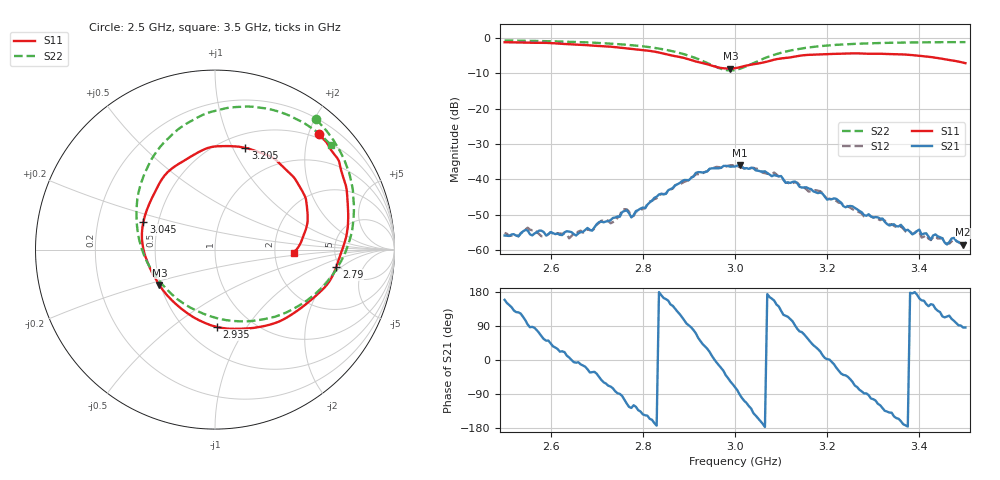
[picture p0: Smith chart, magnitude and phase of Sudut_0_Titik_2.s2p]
# Hz S RI R 50
! CMT, C1220, 16058040, 17.2.0/1
! Date: 15/08/2018 10:47:26
! Data: Format (Calibration Info)
! Freq  S11: Re/Im (F2)  S21: Re/Im (F2)  S12: Re/Im (F2)  S22: Re/Im (F2)
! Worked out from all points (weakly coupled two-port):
!   201 points, 2.5 GHz to 3.5 GHz, reference 50 ohm
!   highest |S21| = -36.10 dB at 3.01 GHz (marker M1); lowest = -58.6 dB at 3.495 GHz (marker M2)
!   lowest |S11| = -8.7 dB at 2.99 GHz (marker M3), VSWR 2.16, Z = 24.6 - j11.2 ohm
!   |S11| at or under -10 dB: nowhere
!   |S22| runs from -9.2 to -0.7 dB; largest |S21 - S12| = 0.0011
!   S11 on the Smith chart (normalised r, x): 2.5 GHz: 0.42, +2.19; 2.79 GHz: 4.66, -1.69; 2.935 GHz: 0.70, -0.74; 3.045 GHz: 0.41, +0.16; 3.205 GHz: 0.64, +1.12; 3.5 GHz: 2.56, -0.10
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2.5e9  0.5815 0.6428  -0.00149 0.000579  -0.0016 0.000663  0.5635 0.7252
2.53e9  0.6242 0.5933  -0.000907 0.00126  -0.000919 0.00125  0.5967 0.6892
2.55e9  0.6374 0.569  -0.000118 0.00188  -0.000315 0.00203  0.6195 0.6642
2.64e9  0.7267 0.3645  0.0018 0.000217  0.00145 0.000126  0.7121 0.5174
2.67e9  0.7364 0.3016  0.00174 -0.000449  0.00166 -0.000558  0.738 0.454
2.71e9  0.7421 0.1779  0.00152 -0.00199  0.00169 -0.00196  0.7639 0.3554
2.74e9  0.734 0.0867  0.000372 -0.00284  0.000565 -0.0025  0.772 0.2728
2.755e9  0.7195 0.0315  -0.000283 -0.0034  -0.000118 -0.0037  0.7744 0.2284
2.775e9  0.6964 -0.0361  -0.00171 -0.00232  -0.00181 -0.00233  0.7711 0.1619
2.79e9  0.6755 -0.097  -0.00247 -0.0027  -0.00255 -0.00252  0.7645 0.1097
2.835e9  0.5653 -0.2543  -0.00607 8.89e-05  -0.00589 -7.35e-05  0.7019 -0.0657
2.935e9  0.00875 -0.4308  0.0102 0.00739  0.00995 0.00779  0.2244 -0.3952
2.99e9  -0.3101 -0.1965  0.00823 -0.0126  0.00886 -0.013  -0.2131 -0.2738
3e9  -0.3474 -0.135  0.00468 -0.0144  0.00394 -0.0146  -0.2777 -0.2117
3.01e9  -0.3768 -0.0679  -0.000214 -0.0157  -0.000218 -0.015  -0.3351 -0.1428
3.045e9  -0.3988 0.1542  -0.0111 -0.00729  -0.0117 -0.00794  -0.4348 0.1334
3.1e9  -0.2445 0.4485  -0.00711 0.0085  -0.0065 0.00847  -0.3525 0.5054
3.17e9  0.0372 0.5766  0.00522 0.00425  0.00497 0.00469  -0.0898 0.7399
3.205e9  0.1685 0.5669  0.00525 0.000101  0.00528 -0.000254  0.0379 0.7821
3.335e9  0.4658 0.3612  -0.00166 -0.00146  -0.00176 -0.00143  0.3922 0.7555
3.495e9  0.446 -0.00779  8.84e-05 0.00118  0.000199 0.00111  0.6392 0.5897
3.5e9  0.4379 -0.0166  9.22e-05 0.00125  0.000141 0.00113  0.6447 0.584
